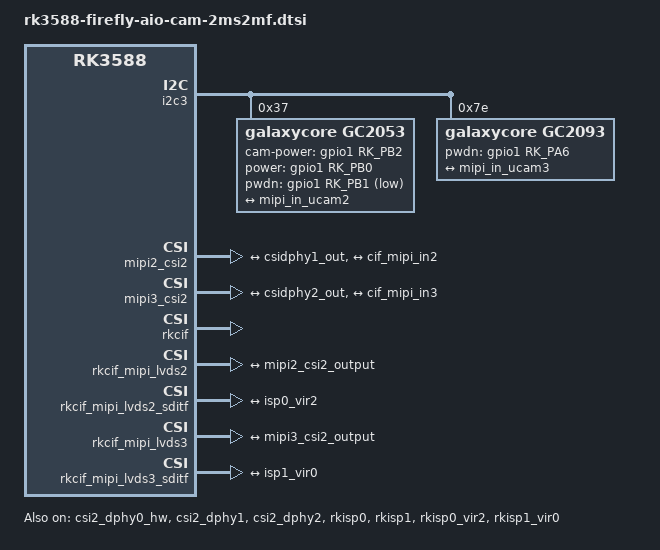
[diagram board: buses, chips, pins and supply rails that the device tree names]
// SPDX-License-Identifier: (GPL-2.0+ OR MIT)
/*
 * Copyright (c) 2021 Rockchip Electronics Co., Ltd.
 *
 */
/ {
        vcc_mipidphy0: vcc-mipidcphy0-regulator {
		status = "disable";
                compatible = "regulator-fixed";
                gpio = <&gpio1 RK_PB2 GPIO_ACTIVE_HIGH>;
                pinctrl-names = "default";
                pinctrl-0 = <&mipidphy0_pwr>;
                regulator-name = "vcc_mipidphy0";
                enable-active-high;
        };
};

&csi2_dphy0_hw {
	status = "okay";
};

&csi2_dphy1 {
	status = "okay";
#ifdef FF_COMPATIBLE
	firefly-compatible;
#endif
	ports {
		#address-cells = <1>;
		#size-cells = <0>;
		port@0 {
			reg = <0>;
			#address-cells = <1>;
			#size-cells = <0>;

			mipi_in_ucam2: endpoint@1 {
				reg = <1>;
				remote-endpoint = <&gc2053_out2>;
				data-lanes = <1 2>;
			};
		};
		port@1 {
			reg = <1>;
			#address-cells = <1>;
			#size-cells = <0>;

			csidphy1_out: endpoint@0 {
				reg = <0>;
				remote-endpoint = <&mipi2_csi2_input1>;
			};
		};
	};
};

&csi2_dphy2 {
	status = "okay";
#ifdef FF_COMPATIBLE
	firefly-compatible;
#endif
	ports {
		#address-cells = <1>;
		#size-cells = <0>;
		port@0 {
			reg = <0>;
			#address-cells = <1>;
			#size-cells = <0>;

			mipi_in_ucam3: endpoint@1 {
				reg = <1>;
				remote-endpoint = <&gc2093_out3>;
				data-lanes = <1 2>;
			};
		};
		port@1 {
			reg = <1>;
			#address-cells = <1>;
			#size-cells = <0>;

			csidphy2_out: endpoint@0 {
				reg = <0>;
				remote-endpoint = <&mipi3_csi2_input>;
			};
		};
	};
};



&i2c3 {
	status = "okay";

	/* module 77/79 0x1a 78/80 0x36 */
	gc2053: gc2053b@37 {
		compatible = "galaxycore,gc2053";
		status = "okay";
		reg = <0x37>;
		clocks = <&cru CLK_MIPI_CAMARAOUT_M3>;
		clock-names = "xvclk";
		power-domains = <&power RK3588_PD_VI>;
		pinctrl-names = "default";
		pinctrl-0 = <&mipim0_camera3_clk>;
		//avdd-supply = <&vcc_mipidphy0>;
		cam-power-gpios = <&gpio1 RK_PB2 GPIO_ACTIVE_HIGH>;
		power-gpios = <&gpio1 RK_PB0 GPIO_ACTIVE_HIGH>;
		pwdn-gpios = <&gpio1 RK_PB1 GPIO_ACTIVE_LOW>;

		#define FF_COMPATIBLE
		firefly,clkout-enabled-index = <1>;
		rockchip,camera-module-index = <0>;
		rockchip,camera-module-facing = "back";
		rockchip,camera-module-name = "YT-RV1109-2-V1";
		rockchip,camera-module-lens-name = "40IR-2MP-F20";
		port {
			gc2053_out2: endpoint {
				remote-endpoint = <&mipi_in_ucam2>;
				data-lanes = <1 2>;
			};
		};
	};

	gc2093: gc2093b@7e {
		compatible = "galaxycore,gc2093";
		status = "okay";
		reg = <0x7e>;
		power-domains = <&power RK3588_PD_VI>;
		//avdd-supply = <&vcc_mipidphy0>;
		//reset-gpios = <&gpio1 RK_PD6 GPIO_ACTIVE_LOW>;
		pwdn-gpios = <&gpio1 RK_PA6 GPIO_ACTIVE_HIGH>;
		firefly,clkout-enabled-index = <0>;
		rockchip,camera-module-index = <1>;
		rockchip,camera-module-facing = "front";
		rockchip,camera-module-name = "YT-RV1109-2-V1";
		rockchip,camera-module-lens-name = "40IR-2MP-F20";
		port {
			gc2093_out3: endpoint {
				remote-endpoint = <&mipi_in_ucam3>;
				data-lanes = <1 2>;
			};
		};
	};
};


&mipi2_csi2 {
	status = "okay";
#ifdef FF_COMPATIBLE
	firefly-compatible;
#endif

	ports {
		#address-cells = <1>;
		#size-cells = <0>;

		port@0 {
			reg = <0>;
			#address-cells = <1>;
			#size-cells = <0>;

			mipi2_csi2_input1: endpoint@1 {
				reg = <1>;
				remote-endpoint = <&csidphy1_out>;
			};
		};

		port@1 {
			reg = <1>;
			#address-cells = <1>;
			#size-cells = <0>;

			mipi2_csi2_output: endpoint@0 {
				reg = <0>;
				remote-endpoint = <&cif_mipi_in2>;
			};
		};
	};
};

&mipi3_csi2 {
	status = "okay";
#ifdef FF_COMPATIBLE
	firefly-compatible;
#endif
	ports {
		#address-cells = <1>;
		#size-cells = <0>;

		port@0 {
			reg = <0>;
			#address-cells = <1>;
			#size-cells = <0>;

			mipi3_csi2_input: endpoint@1 {
				reg = <1>;
				remote-endpoint = <&csidphy2_out>;
			};
		};

		port@1 {
			reg = <1>;
			#address-cells = <1>;
			#size-cells = <0>;

			mipi3_csi2_output: endpoint@0 {
				reg = <0>;
				remote-endpoint = <&cif_mipi_in3>;
			};
		};
	};
};


&rkcif {
	status = "okay";
};


&rkcif_mipi_lvds2 {
	status = "okay";

	port {
		cif_mipi_in2: endpoint {
			remote-endpoint = <&mipi2_csi2_output>;
		};
	};
};

&rkcif_mipi_lvds2_sditf {
	status = "okay";

	port {
		mipi2_lvds_sditf: endpoint {
			remote-endpoint = <&isp0_vir2>;
		};
	};
};

&rkcif_mipi_lvds3 {
	status = "okay";

	port {
		cif_mipi_in3: endpoint {
			remote-endpoint = <&mipi3_csi2_output>;
		};
	};
};


&rkcif_mipi_lvds3_sditf {
        status = "okay";

        port {
                mipi3_lvds_sditf: endpoint {
                        remote-endpoint = <&isp1_vir0>;
                };
        };
};

&rkcif_mmu {
	status = "okay";
};

&rkisp0 {
	status = "okay";
};

&isp0_mmu {
	status = "okay";
};


&rkisp1 {
	status = "okay";
};

&isp1_mmu {
	status = "okay";
};

&rkisp0_vir2 {
        status = "okay";

        port {
                #address-cells = <1>;
                #size-cells = <0>;

                isp0_vir2: endpoint@0 {
                        reg = <0>;
                        remote-endpoint = <&mipi2_lvds_sditf>;
                };
        };
};

&rkisp1_vir0 {
        status = "okay";

        port {
                #address-cells = <1>;
                #size-cells = <0>;

                isp1_vir0: endpoint@0 {
                        reg = <0>;
                        remote-endpoint = <&mipi3_lvds_sditf>;
                };
        };
};

&pinctrl {
        cam {
                mipidphy0_pwr: mipidphy0-pwr {
                        rockchip,pins =
                                /* camera power en */
                                <1 RK_PB2 RK_FUNC_GPIO &pcfg_pull_none>;
                };
        };
};
